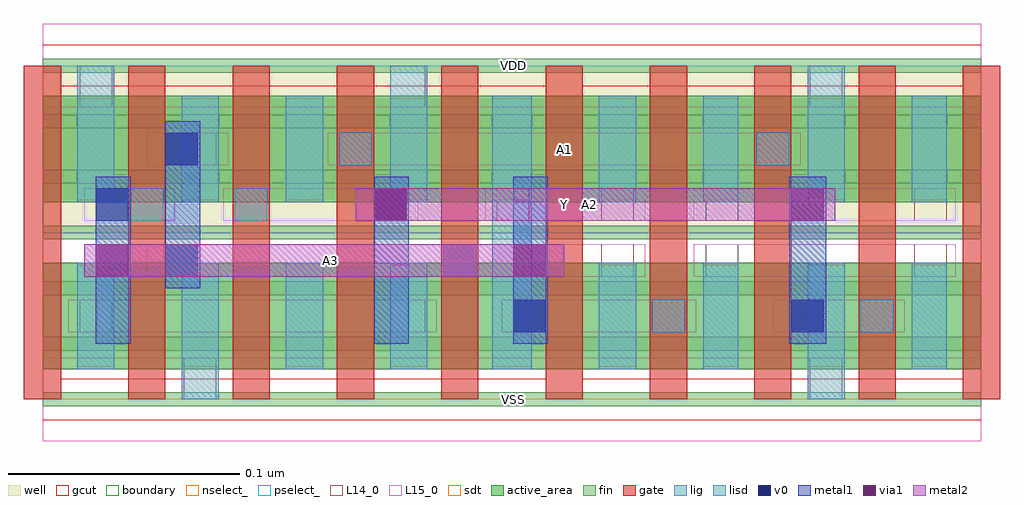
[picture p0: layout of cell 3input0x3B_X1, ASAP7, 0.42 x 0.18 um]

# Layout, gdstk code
import gdstk
lib = gdstk.Library(unit=1e-6, precision=1e-09)
def R(c, l, rs):  # rectangles x0, y0, x1, y1
    for r in rs: c.add(gdstk.rectangle(r[:2], r[2:], *l))
def A(c, l, x, y, w, h, nx, ny, dx, dy):  # array of equal rectangles
    R(c, l, [(x+i*dx, y+j*dy, x+i*dx+w, y+j*dy+h) for i in range(nx) for j in range(ny)])
def P(c, l, *ps):  # polygons
    for p in ps: c.add(gdstk.Polygon(p, *l))
well = (1, 0)
fin = (2, 0)
gate = (7, 0)
gcut = (10, 0)
active_area = (11, 0)
nselect_ = (12, 0)
pselect_ = (13, 0)
L14_0 = (14, 0)
L15_0 = (15, 0)
lig = (16, 0)
lisd = (17, 0)
v0 = (18, 0)
metal1 = (19, 0)
metal2 = (20, 0)
via1 = (21, 0)
sdt = (88, 0)
boundary = (100, 0)

c_3input0x3b_x1 = lib.new_cell('3input0x3B_X1')
R(c_3input0x3b_x1, well, [(0,0.072,0.405,0.144)])
A(c_3input0x3b_x1, fin, 0, -0.003, 0.405, 0.006, 1, 7, 0, 0.024)
A(c_3input0x3b_x1, gate, -0.008, 0, 0.016, 0.144, 10, 1, 0.045, 0)
P(c_3input0x3b_x1, gcut, [(0,-0.009),(0,0),(-0.008,0),(-0.008,0.135),(0.008,0.135),(0.008,0.009),(0.217,0.009),(0.217,0.135),(0.233,0.135),(0.233,0.009),(0.397,0.009),(0.397,0.135),(-0.008,0.135),(-0.008,0.144),(0,0.144),(0,0.153),(0.405,0.153),(0.405,0.144),(0.413,0.144),(0.413,0),(0.405,0),(0.405,-0.009)])
R(c_3input0x3b_x1, active_area, [(0,0.013,0.405,0.059), (0,0.085,0.405,0.131)])
R(c_3input0x3b_x1, nselect_, [(0,0,0.405,0.072)])
R(c_3input0x3b_x1, pselect_, [(0,0.072,0.405,0.144)])
A(c_3input0x3b_x1, L14_0, 0.196, 0.077, 0.014, 0.014, 3, 1, 0.045, 0)
R(c_3input0x3b_x1, L14_0, [(0.061,0,0.075,0.018), (0.331,0,0.345,0.018), (0.016,0.029,0.03,0.043), (0.15,0.029,0.165,0.043), (0.263,0.029,0.277,0.043), (0.353,0.029,0.367,0.043), (0.173,0.053,0.187,0.067), (0.241,0.053,0.255,0.067), (0.286,0.053,0.3,0.067), (0.376,0.053,0.39,0.067), (0.038,0.077,0.052,0.091), (0.083,0.077,0.097,0.091), (0.376,0.077,0.39,0.091), (0.061,0.101,0.075,0.115), (0.128,0.101,0.142,0.115), (0.308,0.101,0.322,0.115), (0.016,0.126,0.03,0.144), (0.15,0.126,0.165,0.144), (0.331,0.126,0.345,0.144)])
R(c_3input0x3b_x1, L15_0, [(0,-0.018,0.405,0.018), (0.011,0.029,0.17,0.043), (0.198,0.029,0.282,0.043), (0.315,0.029,0.372,0.043), (0.045,0.053,0.26,0.067), (0.281,0.053,0.394,0.067), (0.018,0.077,0.057,0.091), (0.078,0.077,0.162,0.091), (0.191,0.077,0.26,0.091), (0.281,0.077,0.394,0.091), (0.045,0.101,0.08,0.115), (0.123,0.101,0.327,0.115), (0,0.126,0.405,0.162)])
R(c_3input0x3b_x1, lig, [(0.263,0.029,0.277,0.043), (0.353,0.029,0.367,0.043), (0.173,0.053,0.187,0.067), (0.038,0.077,0.052,0.091), (0.083,0.077,0.097,0.091), (0.128,0.101,0.142,0.115), (0.308,0.101,0.322,0.115)])
R(c_3input0x3b_x1, lisd, [(0.06,0,0.076,0.059), (0.33,0,0.346,0.059), (0.015,0.013,0.031,0.059), (0.105,0.013,0.121,0.059), (0.15,0.013,0.166,0.059), (0.194,0.013,0.211,0.131), (0.24,0.013,0.256,0.059), (0.285,0.013,0.3,0.059), (0.375,0.013,0.39,0.059), (0.015,0.085,0.031,0.144), (0.06,0.085,0.076,0.131), (0.105,0.085,0.121,0.131), (0.15,0.085,0.166,0.144), (0.24,0.085,0.256,0.131), (0.285,0.085,0.3,0.131), (0.33,0.085,0.346,0.144), (0.375,0.085,0.39,0.131)])
R(c_3input0x3b_x1, v0, [(0.203,0.029,0.217,0.043), (0.323,0.029,0.337,0.043), (0.053,0.053,0.067,0.067), (0.023,0.077,0.037,0.091), (0.143,0.077,0.157,0.091), (0.053,0.101,0.067,0.115)])
R(c_3input0x3b_x1, metal1, [(0.023,0.024,0.038,0.096), (0.143,0.024,0.158,0.096), (0.203,0.024,0.218,0.096), (0.322,0.024,0.338,0.096), (0.053,0.048,0.068,0.12)])
R(c_3input0x3b_x1, metal2, [(0.018,0.053,0.225,0.067), (0.135,0.077,0.342,0.091)])
R(c_3input0x3b_x1, via1, [(0.023,0.053,0.037,0.067), (0.203,0.053,0.217,0.067), (0.143,0.077,0.157,0.091), (0.323,0.077,0.337,0.091)])
A(c_3input0x3b_x1, sdt, 0.015, 0.014, 0.016, 0.044, 4, 2, 0.045, 0.072)
R(c_3input0x3b_x1, sdt, [(0.194,0.014,0.211,0.058), (0.24,0.014,0.256,0.058), (0.285,0.014,0.3,0.058), (0.33,0.014,0.346,0.058), (0.375,0.014,0.39,0.058), (0.194,0.086,0.211,0.13), (0.24,0.086,0.256,0.13), (0.285,0.086,0.3,0.13), (0.33,0.086,0.346,0.13), (0.375,0.086,0.39,0.13)])
R(c_3input0x3b_x1, boundary, [(0,0,0.405,0.144)])
c_3input0x3b_x1.add(gdstk.Label('A1', (0.225,0.108), layer=15, texttype=251))
c_3input0x3b_x1.add(gdstk.Label('VSS', (0.203,0), layer=15, texttype=251))
c_3input0x3b_x1.add(gdstk.Label('VDD', (0.203,0.144), layer=15, texttype=251))
c_3input0x3b_x1.add(gdstk.Label('VSS', (0.203,0), layer=15, texttype=251))
c_3input0x3b_x1.add(gdstk.Label('VDD', (0.203,0.144), layer=15, texttype=251))
c_3input0x3b_x1.add(gdstk.Label('VSS', (0.203,0), layer=15, texttype=251))
c_3input0x3b_x1.add(gdstk.Label('VDD', (0.203,0.144), layer=15, texttype=251))
c_3input0x3b_x1.add(gdstk.Label('Y', (0.225,0.084), layer=15, texttype=251))
c_3input0x3b_x1.add(gdstk.Label('VSS', (0.203,0), layer=15, texttype=251))
c_3input0x3b_x1.add(gdstk.Label('VDD', (0.203,0.144), layer=15, texttype=251))
c_3input0x3b_x1.add(gdstk.Label('VSS', (0.203,0), layer=3, texttype=251))
c_3input0x3b_x1.add(gdstk.Label('VSS', (0.203,0), layer=3, texttype=251))
c_3input0x3b_x1.add(gdstk.Label('VSS', (0.203,0), layer=3, texttype=251))
c_3input0x3b_x1.add(gdstk.Label('VSS', (0.203,0), layer=3, texttype=251))
c_3input0x3b_x1.add(gdstk.Label('VDD', (0.203,0.144), layer=1, texttype=251))
c_3input0x3b_x1.add(gdstk.Label('VDD', (0.203,0.144), layer=1, texttype=251))
c_3input0x3b_x1.add(gdstk.Label('VDD', (0.203,0.144), layer=1, texttype=251))
c_3input0x3b_x1.add(gdstk.Label('VDD', (0.203,0.144), layer=1, texttype=251))
c_3input0x3b_x1.add(gdstk.Label('A2', (0.236,0.084), layer=20, texttype=251))
c_3input0x3b_x1.add(gdstk.Label('A3', (0.124,0.06), layer=20, texttype=251))

lib.write_gds('3input0x3B_X1.gds')
